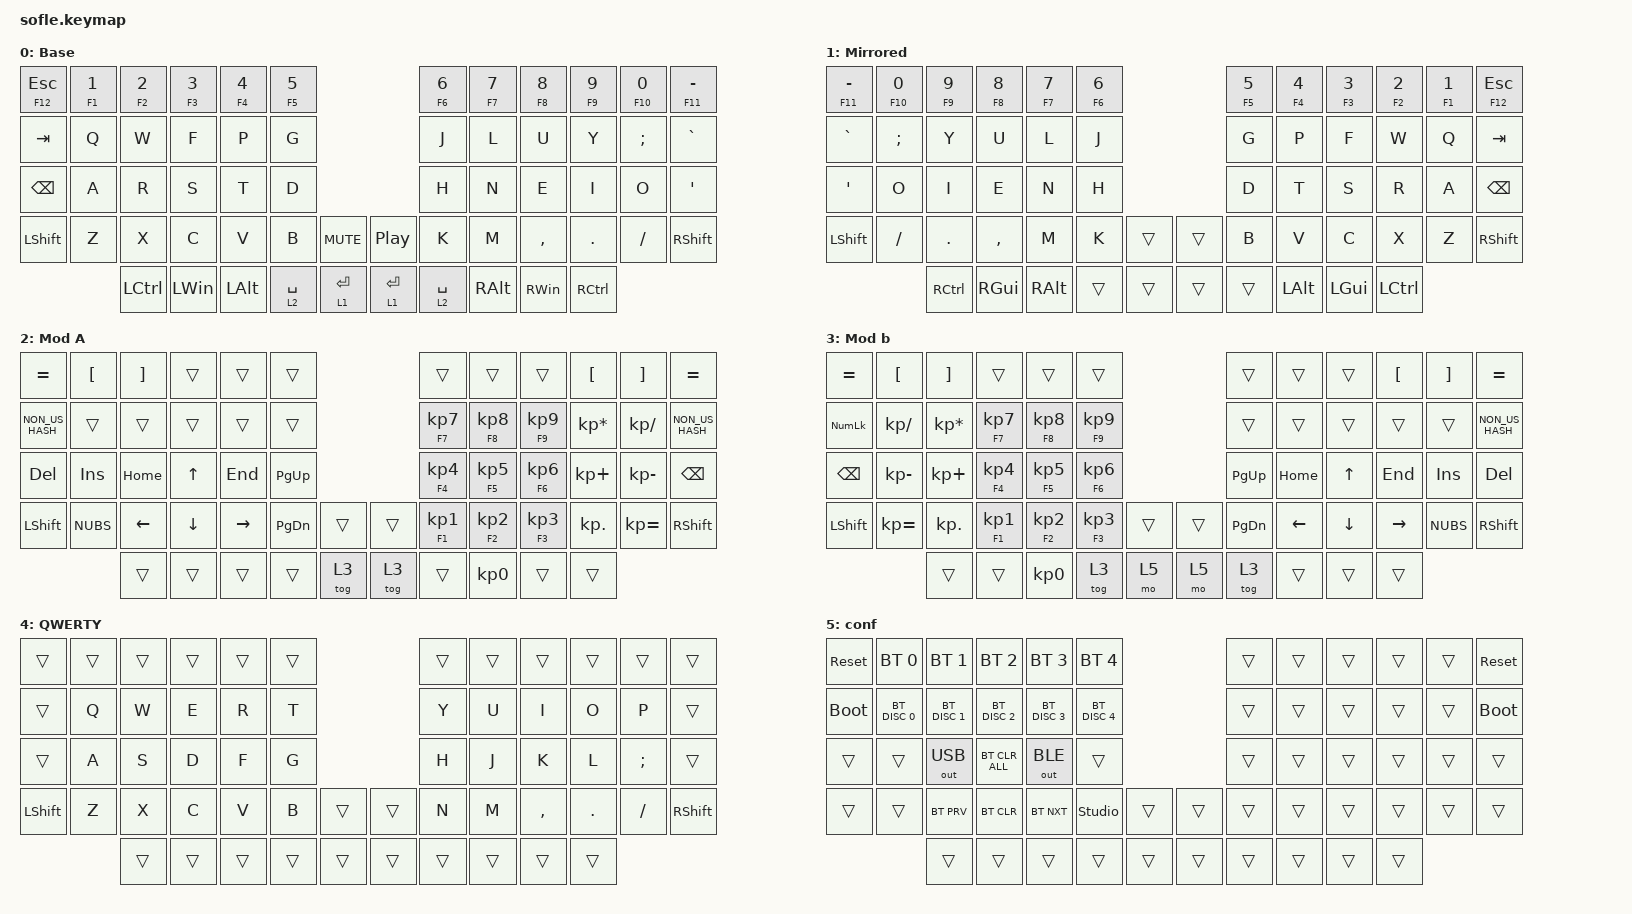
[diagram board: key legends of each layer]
/*
 * Copyright (c) 2020 The ZMK Contributors
 *
 * SPDX-License-Identifier: MIT
 */

#include <behaviors.dtsi>
#include <dt-bindings/zmk/bt.h>
#include <dt-bindings/zmk/keys.h>
#include <dt-bindings/zmk/outputs.h>

#define BASE 0
#define LOWER 1
#define RAISE 2
#define ADJUST 3

/ {
    // Activate ADJUST layer by pressing raise and lower

    left_encoder: encoder_left {
        compatible = "alps,ec11";
        label = "LEFT_ENCODER";
        a-gpios = <&pro_micro 21 (GPIO_ACTIVE_HIGH | GPIO_PULL_UP)>;
        b-gpios = <&pro_micro 20 (GPIO_ACTIVE_HIGH | GPIO_PULL_UP)>;
        steps = <80>;
    };

    right_encoder: encoder_right {
        compatible = "alps,ec11";
        label = "RIGHT_ENCODER";
        a-gpios = <&pro_micro 21 (GPIO_ACTIVE_HIGH | GPIO_PULL_UP)>;
        b-gpios = <&pro_micro 20 (GPIO_ACTIVE_HIGH | GPIO_PULL_UP)>;
        steps = <80>;
    };

    sensors {
        compatible = "zmk,keymap-sensors";
        sensors = <&left_encoder &right_encoder>;
        triggers-per-rotation = <20>;
    };

    conditional_layers { compatible = "zmk,conditional-layers"; };

    behaviors {
        mtd: mtd {
            compatible = "zmk,behavior-tap-dance";
            label = "Mod-Tap-Dance";
            #binding-cells = <0>;
            bindings = <&mo 2>, <&tog 3>, <&sl 5>;
        };

        shift_caps_l: shift_caps_l {
            compatible = "zmk,behavior-tap-dance";
            label = "SHIFT_CAPS_L";
            #binding-cells = <0>;
            bindings = <&kp LSHFT>, <&kp CAPS>;
        };

        shift_caps_r: shift_caps_r {
            compatible = "zmk,behavior-tap-dance";
            label = "SHIFT_CAPS_R";
            #binding-cells = <0>;
            bindings = <&kp RSHFT>, <&kp CAPS>;
        };

        hlt: hlt {
            compatible = "zmk,behavior-hold-tap";
            label = "HLT";
            bindings = <&mo>, <&kp>;

            #binding-cells = <2>;
            tapping-term-ms = <200>;
            flavor = "hold-preferred";
            retro-tap;
        };

        th: th {
            compatible = "zmk,behavior-hold-tap";
            label = "TH";
            bindings = <&kp>, <&kp>;

            #binding-cells = <2>;
            flavor = "tap-preferred";
            tapping-term-ms = <300>;
        };
    };

    combos {
        compatible = "zmk,combos";

        qwerty {
            bindings = <&tog 4>;
            key-positions = <57 58 59>;
        };

        CAPS_COMBO {
            bindings = <&kp CAPS>;
            key-positions = <49 36>;
        };
    };

    keymap {
        compatible = "zmk,keymap";

        base {
            label = "Base";

            // ------------------------------------------------------------------------------------------------------------
            // |   `   |  1  |  2  |  3   |  4   |  5   |                   |  6   |  7    |  8    |  9   |   0   |       |
            // |  ESC  |  Q  |  W  |  E   |  R   |  T   |                   |  Y   |  U    |  I    |  O   |   P   | BKSPC |
            // |  TAB  |  A  |  S  |  D   |  F   |  G   |                   |  H   |  J    |  K    |  L   |   ;   |   '   |
            // | SHIFT |  Z  |  X  |  C   |  V   |  B   |  MUTE  |  |       |  N   |  M    |  ,    |  .   |   /   | SHIFT |
            //               | GUI | ALT  | CTRL | LOWER|  ENTER |  | SPACE | RAISE| CTRL  | ALT   | GUI  |

            bindings = <
&th F12 ESCAPE  &th F1 N1  &th F2 N2  &th F3 N3     &th F4 N4  &th F5 N5                                     &th F6 N6     &th F7 N7  &th F8 N8      &th F9 N9          &th F10 N0  &th F11 MINUS
&kp TAB         &kp Q      &kp W      &kp F         &kp P      &kp G                                         &kp J         &kp L      &kp U          &kp Y              &kp SEMI    &kp GRAVE
&kp BSPC        &kp A      &kp R      &kp S         &kp T      &kp D                                         &kp H         &kp N      &kp E          &kp I              &kp O       &kp SINGLE_QUOTE
&kp LEFT_SHIFT  &kp Z      &kp X      &kp C         &kp V      &kp B         &kp C_MUTE    &kp C_PLAY_PAUSE  &kp K         &kp M      &kp COMMA      &kp DOT            &kp FSLH    &kp RSHIFT
                           &kp LCTRL  &kp LEFT_WIN  &kp LALT   &hlt 2 SPACE  &hlt 1 RET    &hlt 1 ENTER      &hlt 2 SPACE  &kp RALT   &kp RIGHT_WIN  &kp RIGHT_CONTROL
            >;
        };

        mirrored {
            bindings = <
&th F11 MINUS   &th F10 N0  &th F9 N9  &th F8 N8  &th F7 N7  &th F6 N6                    &th F5 N5  &th F4 N4  &th F3 N3  &th F2 N2  &th F1 N1  &th F12 ESCAPE
&kp GRAVE       &kp SEMI    &kp Y      &kp U      &kp L      &kp J                        &kp G      &kp P      &kp F      &kp W      &kp Q      &kp TAB
&kp SQT         &kp O       &kp I      &kp E      &kp N      &kp H                        &kp D      &kp T      &kp S      &kp R      &kp A      &kp BSPC
&kp LEFT_SHIFT  &kp FSLH    &kp DOT    &kp COMMA  &kp M      &kp K      &trans    &trans  &kp B      &kp V      &kp C      &kp X      &kp Z      &kp RIGHT_SHIFT
                            &kp RCTRL  &kp RGUI   &kp RALT   &trans     &trans    &trans  &trans     &kp LALT   &kp LGUI   &kp LCTRL
            >;

            label = "Mirrored";
        };

        mod_a {
            bindings = <
&kp EQUAL        &kp LBKT  &kp RBKT  &trans    &trans     &trans                           &trans              &trans              &trans              &kp LEFT_BRACKET  &kp RIGHT_BRACKET  &kp EQUAL
&kp NON_US_HASH  &trans    &trans    &trans    &trans     &trans                           &mt F7 KP_NUMBER_7  &mt F8 KP_NUMBER_8  &mt F9 KP_NUMBER_9  &kp KP_ASTERISK   &kp KP_DIVIDE      &kp NON_US_HASH
&kp DELETE       &kp INS   &kp HOME  &kp UP    &kp END    &kp PG_UP                        &mt F4 KP_NUMBER_4  &mt F5 KP_NUMBER_5  &mt F6 KP_NUMBER_6  &kp KP_PLUS       &kp KP_MINUS       &kp BACKSPACE
&kp LSHIFT       &kp NUBS  &kp LEFT  &kp DOWN  &kp RIGHT  &kp PAGE_DOWN  &trans    &trans  &mt F1 KP_NUMBER_1  &mt F2 KP_NUMBER_2  &mt F3 KP_NUMBER_3  &kp KP_DOT        &kp KP_EQUAL       &kp RSHIFT
                           &trans    &trans    &trans     &trans         &tog 3    &tog 3  &trans              &kp KP_NUMBER_0     &trans              &trans
            >;

            label = "Mod A";
        };

        mod_b {
            label = "Mod b";

            // TODO: Some binds are waiting for shifted keycode support.
            // ------------------------------------------------------------------------------------------------------------
            // |       |  F1 |  F2 |  F3  |  F4  |  F5  |                   |  F6  |  F7   |  F8   |  F9  |  F10  |  F11  |
            // |   `   |  1  |  2  |  3   |  4   |  5   |                   |  6   |  7    |  8    |  9   |   0   |  F12  |
            // |       |  !  |  @  |  #   |  $   |  %   |                   |  ^   |  &    |  *    |  (   |   )   |   |   |
            // |       |  =  |  -  |  +   |  {   |  }   |        |  |       |  [   |  ]    |  ;    |  :   |   \   |       |
            //               |     |      |      |      |        |  |       |      |       |       |      |

            bindings = <
&kp EQUAL       &kp LEFT_BRACKET  &kp RIGHT_BRACKET  &trans              &trans              &trans                                &trans         &trans    &trans    &kp LEFT_BRACKET  &kp RIGHT_BRACKET  &kp EQUAL
&kp KP_NUMLOCK  &kp KP_DIVIDE     &kp KP_MULTIPLY    &mt F7 KP_NUMBER_7  &mt F8 KP_NUMBER_8  &mt F9 KP_NUMBER_9                    &trans         &trans    &trans    &trans            &trans             &kp NON_US_HASH
&kp BACKSPACE   &kp KP_SUBTRACT   &kp KP_PLUS        &mt F4 KP_NUMBER_4  &mt F5 KP_NUMBER_5  &mt F6 KP_NUMBER_6                    &kp PG_UP      &kp HOME  &kp UP    &kp END           &kp INS            &kp DELETE
&kp LEFT_SHIFT  &kp KP_EQUAL      &kp KP_DOT         &mt F1 KP_NUMBER_1  &mt F2 KP_NUMBER_2  &mt F3 KP_NUMBER_3  &trans    &trans  &kp PAGE_DOWN  &kp LEFT  &kp DOWN  &kp RIGHT         &kp NUBS           &kp RIGHT_SHIFT
                                  &trans             &trans              &kp KP_N0           &tog 3              &mo 5     &mo 5   &tog 3         &trans    &trans    &trans
            >;
        };

        qwerty {
            bindings = <
&trans          &trans  &trans  &trans  &trans  &trans                    &trans  &trans  &trans     &trans   &trans    &trans
&trans          &kp Q   &kp W   &kp E   &kp R   &kp T                     &kp Y   &kp U   &kp I      &kp O    &kp P     &trans
&trans          &kp A   &kp S   &kp D   &kp F   &kp G                     &kp H   &kp J   &kp K      &kp L    &kp SEMI  &trans
&kp LEFT_SHIFT  &kp Z   &kp X   &kp C   &kp V   &kp B   &trans    &trans  &kp N   &kp M   &kp COMMA  &kp DOT  &kp FSLH  &kp RIGHT_SHIFT
                        &trans  &trans  &trans  &trans  &trans    &trans  &trans  &trans  &trans     &trans
            >;

            label = "QWERTY";
        };

        conf {
            bindings = <
&sys_reset   &bt BT_SEL 0   &bt BT_SEL 1   &bt BT_SEL 2    &bt BT_SEL 3   &bt BT_SEL 4                      &trans  &trans  &trans  &trans  &trans  &sys_reset
&bootloader  &bt BT_DISC 0  &bt BT_DISC 1  &bt BT_DISC 2   &bt BT_DISC 3  &bt BT_DISC 4                     &trans  &trans  &trans  &trans  &trans  &bootloader
&trans       &trans         &out OUT_USB   &bt BT_CLR_ALL  &out OUT_BLE   &trans                            &trans  &trans  &trans  &trans  &trans  &trans
&trans       &trans         &bt BT_PRV     &bt BT_CLR      &bt BT_NXT     &studio_unlock  &trans    &trans  &trans  &trans  &trans  &trans  &trans  &trans
                            &trans         &trans          &trans         &trans          &trans    &trans  &trans  &trans  &trans  &trans
            >;

            label = "conf";
        };
    };
};
